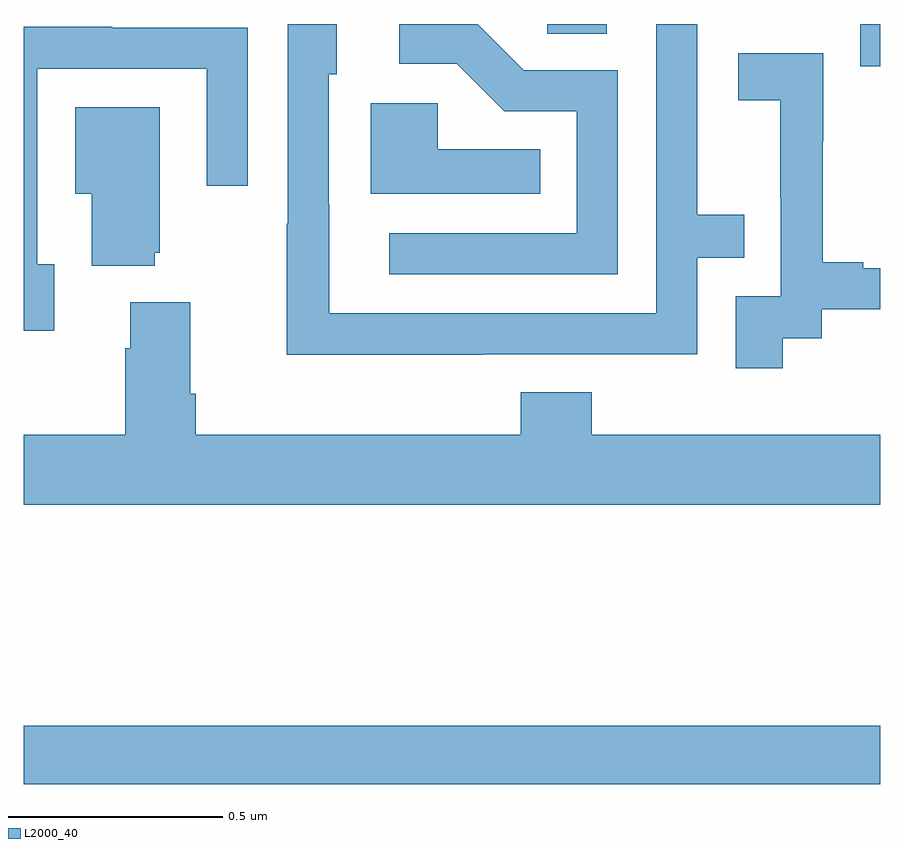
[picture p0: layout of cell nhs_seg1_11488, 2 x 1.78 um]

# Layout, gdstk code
import gdstk
lib = gdstk.Library(unit=1e-6, precision=1e-09)
def R(c, l, rs):  # rectangles x0, y0, x1, y1
    for r in rs: c.add(gdstk.rectangle(r[:2], r[2:], *l))
def P(c, l, *ps):  # polygons
    for p in ps: c.add(gdstk.Polygon(p, *l))
L2000_40 = (2000, 40)

nhs_seg1_11488 = lib.new_cell('nhs_seg1_11488')
R(nhs_seg1_11488, L2000_40, [(254,540.424,256,540.56), (255.954,542.1,256,542.199), (255.222,542.176,255.361,542.199)])
P(nhs_seg1_11488, L2000_40, [(255.387,542.091),(255.168,542.091),(255.06,542.199),(254.877,542.199),(254.877,542.106),(255.011,542.106),(255.122,541.995),(255.291,541.995),(255.291,541.71),(254.853,541.71),(254.853,541.614),(255.387,541.614)],
  [(255.077,541.428),(255.573,541.428),(255.573,541.653),(255.683,541.653),(255.683,541.754),(255.573,541.754),(255.573,542.199),(255.477,542.199),(255.477,541.524),(254.713,541.524),(254.713,541.778),(254.712,541.778),(254.712,542.082),(254.731,542.082),(254.731,542.199),(254.616,542.199),(254.616,541.733),(254.614,541.733),(254.614,541.427),(255.077,541.427)],
  [(254.071,541.638),(254.031,541.638),(254.031,542.094),(254.427,542.094),(254.427,541.821),(254.523,541.821),(254.523,542.19),(254.207,542.19),(254.207,542.192),(254,542.192),(254,541.482),(254.071,541.482)],
  [(255.772,541.465),(255.864,541.465),(255.864,541.533),(256,541.533),(256,541.629),(255.961,541.629),(255.961,541.642),(255.866,541.642),(255.866,541.925),(255.867,541.925),(255.867,542.131),(255.669,542.131),(255.669,542.021),(255.767,542.021),(255.767,541.793),(255.768,541.793),(255.768,541.563),(255.663,541.563),(255.663,541.395),(255.772,541.395)],
  [(255.206,541.906),(254.967,541.906),(254.967,542.014),(254.81,542.014),(254.81,541.802),(255.206,541.802)],
  [(254.306,541.665),(254.317,541.665),(254.317,542.005),(254.12,542.005),(254.12,541.802),(254.159,541.802),(254.159,541.634),(254.306,541.634)],
  [(256,541.24),(255.326,541.24),(255.326,541.339),(255.161,541.339),(255.161,541.24),(254.402,541.24),(254.402,541.336),(254.389,541.336),(254.389,541.549),(254.249,541.549),(254.249,541.442),(254.237,541.442),(254.237,541.24),(254,541.24),(254,541.076),(256,541.076)])

lib.write_gds('nhs_seg1_11488.gds')
